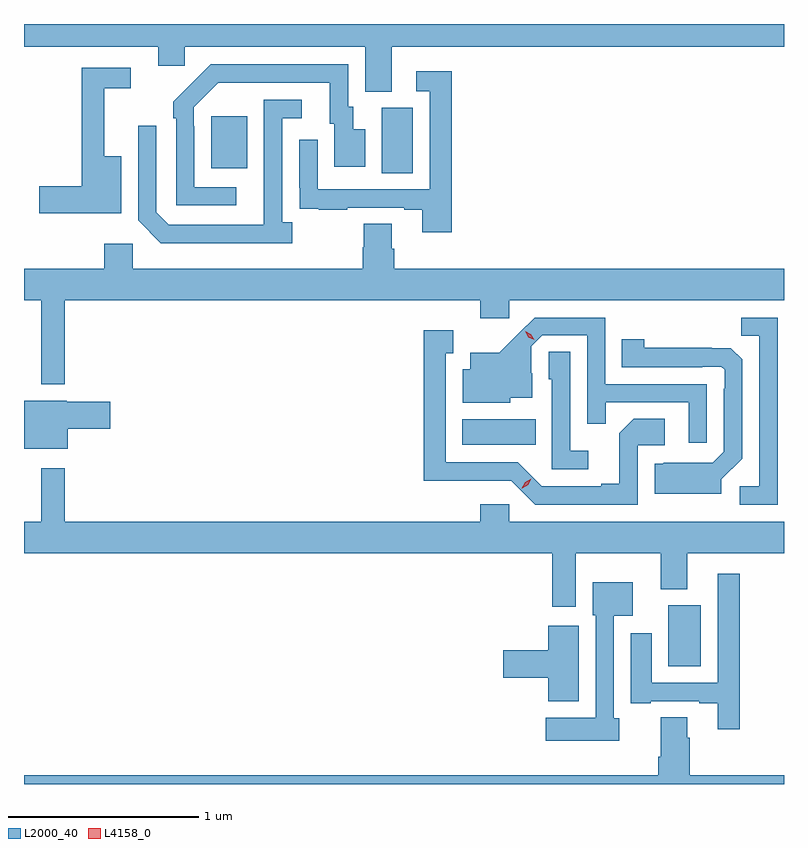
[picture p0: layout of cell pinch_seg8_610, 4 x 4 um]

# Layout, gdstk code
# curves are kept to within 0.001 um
import gdstk
lib = gdstk.Library(unit=1e-6, precision=1e-09)
def R(c, l, rs):  # rectangles x0, y0, x1, y1
    for r in rs: c.add(gdstk.rectangle(r[:2], r[2:], *l))
def P(c, l, *ps):  # polygons
    for p in ps: c.add(gdstk.Polygon(p, *l))
L2000_40 = (2000, 40)
L4158_0 = (4158, 0)

pinch_seg8_610 = lib.new_cell('pinch_seg8_610')
R(pinch_seg8_610, L2000_40, [(197.285,1085.27,197.455,1085.59), (196.199,1086.434,196.586,1086.568), (195.776,1087.864,195.94,1088.208), (194.879,1087.889,195.067,1088.164)])
P(pinch_seg8_610, L2000_40, [(195.829,1088.528),(197.893,1088.528),(197.893,1088.649),(193.893,1088.649),(193.893,1088.528),(194.6,1088.528),(194.6,1088.43),(194.739,1088.43),(194.739,1088.528),(195.689,1088.528),(195.689,1088.293),(195.829,1088.293)],
  [(195.01,1087.791),(194.79,1087.791),(194.79,1088.111),(194.787,1088.111),(194.787,1088.211),(194.916,1088.34),(195.503,1088.34),(195.503,1088.124),(195.527,1088.124),(195.527,1087.899),(195.688,1087.899),(195.688,1088.095),(195.625,1088.095),(195.625,1088.214),(195.6,1088.214),(195.6,1088.436),(194.876,1088.436),(194.679,1088.241),(194.679,1088.153),(194.694,1088.153),(194.694,1087.695),(195.01,1087.695)],
  [(194.404,1087.954),(194.315,1087.954),(194.315,1088.31),(194.455,1088.31),(194.455,1088.418),(194.197,1088.418),(194.197,1087.796),(193.974,1087.796),(193.974,1087.654),(194.404,1087.654)],
  [(196.145,1088.401),(195.957,1088.401),(195.957,1088.295),(196.029,1088.295),(196.029,1087.779),(195.438,1087.779),(195.438,1088.041),(195.342,1088.041),(195.342,1087.786),(195.343,1087.786),(195.343,1087.677),(195.445,1087.677),(195.445,1087.671),(195.593,1087.671),(195.593,1087.683),(195.893,1087.683),(195.893,1087.671),(195.989,1087.671),(195.989,1087.554),(196.145,1087.554)],
  [(195.304,1087.606),(195.252,1087.606),(195.252,1088.154),(195.355,1088.154),(195.355,1088.25),(195.156,1088.25),(195.155,1087.593),(194.655,1087.593),(194.589,1087.659),(194.589,1088.113),(194.493,1088.113),(194.493,1087.617),(194.614,1087.496),(195.304,1087.496)],
  [(194.107,1087.196),(196.295,1087.196),(196.295,1087.101),(196.446,1087.101),(196.446,1087.196),(197.893,1087.196),(197.893,1087.36),(195.842,1087.36),(195.842,1087.466),(195.829,1087.466),(195.829,1087.598),(195.682,1087.598),(195.682,1087.473),(195.677,1087.473),(195.677,1087.36),(194.466,1087.36),(194.466,1087.492),(194.315,1087.492),(194.315,1087.36),(193.893,1087.36),(193.893,1087.196),(193.985,1087.196),(193.985,1086.752),(194.107,1086.752)],
  [(197.487,1086.753),(196.953,1086.753),(196.953,1087.104),(196.58,1087.104),(196.393,1086.919),(196.241,1086.919),(196.241,1086.832),(196.202,1086.832),(196.202,1086.656),(196.452,1086.656),(196.452,1086.683),(196.567,1086.683),(196.567,1086.812),(196.563,1086.812),(196.563,1086.954),(196.62,1087.011),(196.857,1087.011),(196.857,1086.544),(196.955,1086.544),(196.955,1086.657),(197.391,1086.657),(197.391,1086.444),(197.487,1086.444)],
  [(197.859,1087.104),(197.668,1087.104),(197.668,1087.009),(197.763,1087.009),(197.763,1086.216),(197.661,1086.216),(197.661,1086.12),(197.859,1086.12)],
  [(197.124,1086.432),(197.266,1086.432),(197.266,1086.572),(197.101,1086.572),(197.025,1086.496),(197.025,1086.229),(196.931,1086.229),(196.931,1086.216),(196.617,1086.216),(196.491,1086.342),(196.114,1086.342),(196.114,1086.915),(196.153,1086.915),(196.153,1087.036),(195.996,1087.036),(195.996,1086.245),(196.458,1086.246),(196.584,1086.12),(197.124,1086.12)],
  [(197.563,1086.252),(197.673,1086.362),(197.673,1086.884),(197.614,1086.943),(197.157,1086.944),(197.157,1086.991),(197.038,1086.991),(197.038,1086.843),(197.462,1086.843),(197.462,1086.846),(197.562,1086.846),(197.58,1086.828),(197.58,1086.728),(197.577,1086.728),(197.577,1086.399),(197.517,1086.339),(197.26,1086.34),(197.254,1086.334),(197.213,1086.334),(197.213,1086.176),(197.563,1086.176)],
  [(196.864,1086.403),(196.767,1086.403),(196.767,1086.923),(196.656,1086.923),(196.656,1086.78),(196.671,1086.78),(196.671,1086.306),(196.864,1086.306)],
  [(194.122,1086.52),(194.347,1086.52),(194.347,1086.662),(194.118,1086.662),(194.118,1086.667),(193.895,1086.667),(193.895,1086.413),(194.122,1086.413)],
  [(196.798,1085.864),(197.243,1085.864),(197.243,1085.675),(197.383,1085.675),(197.383,1085.864),(197.893,1085.864),(197.893,1086.028),(196.446,1086.028),(196.446,1086.121),(196.295,1086.121),(196.295,1086.028),(194.107,1086.028),(194.107,1086.31),(193.985,1086.31),(193.985,1086.028),(193.893,1086.028),(193.893,1085.864),(196.673,1085.864),(196.673,1085.583),(196.798,1085.583)],
  [(197.66,1085.755),(197.544,1085.755),(197.544,1085.181),(197.197,1085.181),(197.197,1085.443),(197.087,1085.443),(197.087,1085.073),(197.191,1085.073),(197.191,1085.085),(197.447,1085.085),(197.447,1085.073),(197.543,1085.073),(197.543,1084.938),(197.66,1084.938)],
  [(197.026,1084.995),(196.998,1084.995),(196.998,1085.534),(197.098,1085.534),(197.098,1085.71),(196.886,1085.71),(196.886,1085.538),(196.902,1085.538),(196.902,1084.999),(196.638,1084.999),(196.638,1084.877),(197.026,1084.877)],
  [(196.813,1085.482),(196.652,1085.482),(196.652,1085.354),(196.416,1085.354),(196.416,1085.207),(196.652,1085.207),(196.652,1085.084),(196.813,1085.084)],
  [(193.893,1084.649),(197.893,1084.649),(197.893,1084.696),(197.396,1084.696),(197.396,1084.892),(197.383,1084.892),(197.383,1085),(197.243,1085),(197.243,1084.792),(197.231,1084.792),(197.231,1084.696),(193.893,1084.696)])
P(pinch_seg8_610, L4158_0, [(196.578,1086.986),(196.548,1087.001),(196.531,1087.031),(196.531,1087.031),(196.531,1087.031),(196.561,1087.016),(196.578,1086.986),(196.578,1086.986)],
  [(196.514,1086.205),(196.514,1086.205),(196.532,1086.237),(196.563,1086.256),(196.563,1086.256),(196.563,1086.255),(196.546,1086.223),(196.515,1086.205)])

lib.write_gds('pinch_seg8_610.gds')
